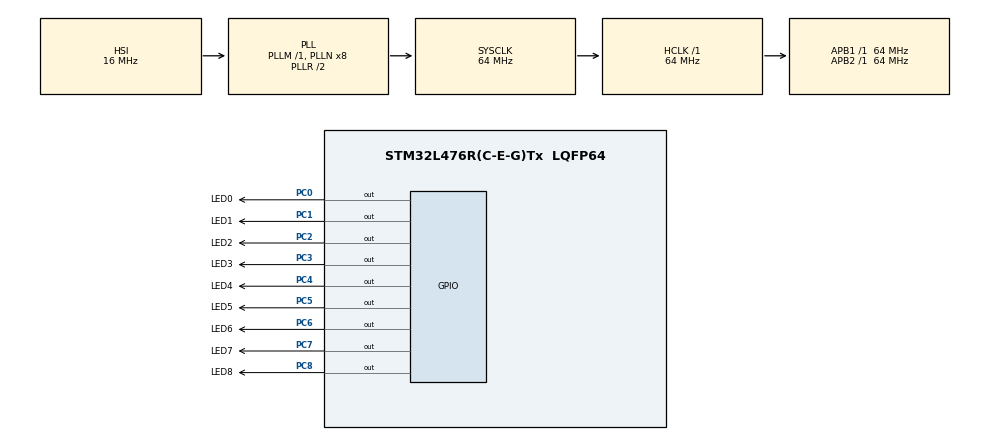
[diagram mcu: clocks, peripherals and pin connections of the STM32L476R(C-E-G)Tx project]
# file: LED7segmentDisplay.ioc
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Mcu.Family=STM32L4
Mcu.Name=STM32L476R(C-E-G)Tx
Mcu.Package=LQFP64
NVIC.PriorityGroup=NVIC_PRIORITYGROUP_4
PC0.GPIO_Label=LED0
PC0.Signal=GPIO_Output
PC1.GPIO_Label=LED1
PC1.Signal=GPIO_Output
PC2.GPIO_Label=LED2
PC2.Signal=GPIO_Output
PC3.GPIO_Label=LED3
PC3.Signal=GPIO_Output
PC4.GPIO_Label=LED4
PC4.Signal=GPIO_Output
PC5.GPIO_Label=LED5
PC5.Signal=GPIO_Output
PC6.GPIO_Label=LED6
PC6.Signal=GPIO_Output
PC7.GPIO_Label=LED7
PC7.Signal=GPIO_Output
PC8.GPIO_Label=LED8
PC8.Signal=GPIO_Output
PH0-OSC_IN\ (PH0).Mode=HSE-External-Oscillator
PH0-OSC_IN\ (PH0).Signal=RCC_OSC_IN
PH1-OSC_OUT\ (PH1).Mode=HSE-External-Oscillator
PH1-OSC_OUT\ (PH1).Signal=RCC_OSC_OUT
ProjectManager.HeapSize=0x200
ProjectManager.StackSize=0x400
ProjectManager.TargetToolchain=STM32CubeIDE
RCC.ADCFreq_Value=64000000
RCC.AHBFreq_Value=64000000
RCC.APB1Freq_Value=64000000
RCC.APB1TimFreq_Value=64000000
RCC.APB2Freq_Value=64000000
RCC.APB2TimFreq_Value=64000000
RCC.CortexFreq_Value=64000000
RCC.HCLKFreq_Value=64000000
RCC.HSE_VALUE=8000000
RCC.HSI_VALUE=16000000
RCC.LSE_VALUE=32768
RCC.MSI_VALUE=4000000
RCC.PLLSourceVirtual=RCC_PLLSOURCE_HSI
RCC.SYSCLKFreq_VALUE=64000000
RCC.SYSCLKSource=RCC_SYSCLKSOURCE_PLLCLK
RCC.USBFreq_Value=64000000
RCC.VCOOutputFreq_Value=128000000
board=custom

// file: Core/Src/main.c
/* USER CODE BEGIN Header */
/**
  ******************************************************************************
  * @file           : main.c
  * @brief          : Main program body
  ******************************************************************************
  * @attention
  *
  * Copyright (c) 2024 STMicroelectronics.
  * All rights reserved.
  *
  * This software is licensed under terms that can be found in the LICENSE file
  * in the root directory of this software component.
  * If no LICENSE file comes with this software, it is provided AS-IS.
  *
  ******************************************************************************
  */
/* USER CODE END Header */
#include "main.h"

/* USER CODE BEGIN PV */
int LED[]={LED0_Pin,LED1_Pin,LED2_Pin,LED3_Pin,LED4_Pin,LED5_Pin,LED6_Pin,LED7_Pin};
int display[]={0x3F,// 0
		  	  	 0x06,// 1
		  	  	 0x5B,// 2
				 0x4F,// 3
				 0x66,// 4
				 0x6D,// 5
				 0x7D,// 6
				 0x07,// 7
				 0x7F,// 8
				 0x6F};// 9
  int Count=0;
/* USER CODE END PV */

void SystemClock_Config(void);
static void MX_GPIO_Init(void);

int main(void)
{

  /* MCU Configuration--------------------------------------------------------*/

  /* Reset of all peripherals, Initializes the Flash interface and the Systick. */
  HAL_Init();

  /* Configure the system clock */
  SystemClock_Config();

  /* Initialize all configured peripherals */
  MX_GPIO_Init();

  /* Infinite loop */
  /* USER CODE BEGIN WHILE */
  while (1)
  {
	  GPIOC-> ODR = display[Count];
	  		++Count;
	  		if(Count==10)Count=0;
	  		HAL_Delay(100);

    /* USER CODE END WHILE */

  }
}

void SystemClock_Config(void)
{
  RCC_OscInitTypeDef RCC_OscInitStruct = {0};
  RCC_ClkInitTypeDef RCC_ClkInitStruct = {0};

  /** Configure the main internal regulator output voltage
  */
  if (HAL_PWREx_ControlVoltageScaling(PWR_REGULATOR_VOLTAGE_SCALE1) != HAL_OK)
  {
    Error_Handler();
  }

  /** Initializes the RCC Oscillators according to the specified parameters
  * in the RCC_OscInitTypeDef structure.
  */
  RCC_OscInitStruct.OscillatorType = RCC_OSCILLATORTYPE_HSI;
  RCC_OscInitStruct.HSIState = RCC_HSI_ON;
  RCC_OscInitStruct.HSICalibrationValue = RCC_HSICALIBRATION_DEFAULT;
  RCC_OscInitStruct.PLL.PLLState = RCC_PLL_ON;
  RCC_OscInitStruct.PLL.PLLSource = RCC_PLLSOURCE_HSI;
  RCC_OscInitStruct.PLL.PLLM = 1;
  RCC_OscInitStruct.PLL.PLLN = 8;
  RCC_OscInitStruct.PLL.PLLP = RCC_PLLP_DIV7;
  RCC_OscInitStruct.PLL.PLLQ = RCC_PLLQ_DIV2;
  RCC_OscInitStruct.PLL.PLLR = RCC_PLLR_DIV2;
  if (HAL_RCC_OscConfig(&RCC_OscInitStruct) != HAL_OK)
  {
    Error_Handler();
  }

  /** Initializes the CPU, AHB and APB buses clocks
  */
  RCC_ClkInitStruct.ClockType = RCC_CLOCKTYPE_HCLK|RCC_CLOCKTYPE_SYSCLK
                              |RCC_CLOCKTYPE_PCLK1|RCC_CLOCKTYPE_PCLK2;
  RCC_ClkInitStruct.SYSCLKSource = RCC_SYSCLKSOURCE_PLLCLK;
  RCC_ClkInitStruct.AHBCLKDivider = RCC_SYSCLK_DIV1;
  RCC_ClkInitStruct.APB1CLKDivider = RCC_HCLK_DIV1;
  RCC_ClkInitStruct.APB2CLKDivider = RCC_HCLK_DIV1;

  if (HAL_RCC_ClockConfig(&RCC_ClkInitStruct, FLASH_LATENCY_3) != HAL_OK)
  {
    Error_Handler();
  }
}

static void MX_GPIO_Init(void)
{
  GPIO_InitTypeDef GPIO_InitStruct = {0};

  /* GPIO Ports Clock Enable */
  __HAL_RCC_GPIOH_CLK_ENABLE();
  __HAL_RCC_GPIOC_CLK_ENABLE();

  /*Configure GPIO pin Output Level */
  HAL_GPIO_WritePin(GPIOC, LED0_Pin|LED1_Pin|LED2_Pin|LED3_Pin
                          |LED4_Pin|LED5_Pin|LED6_Pin|LED7_Pin
                          |LED8_Pin, GPIO_PIN_RESET);

  /*Configure GPIO pins : LED0_Pin LED1_Pin LED2_Pin LED3_Pin
                           LED4_Pin LED5_Pin LED6_Pin LED7_Pin
                           LED8_Pin */
  GPIO_InitStruct.Pin = LED0_Pin|LED1_Pin|LED2_Pin|LED3_Pin
                          |LED4_Pin|LED5_Pin|LED6_Pin|LED7_Pin
                          |LED8_Pin;
  GPIO_InitStruct.Mode = GPIO_MODE_OUTPUT_PP;
  GPIO_InitStruct.Pull = GPIO_NOPULL;
  GPIO_InitStruct.Speed = GPIO_SPEED_FREQ_LOW;
  HAL_GPIO_Init(GPIOC, &GPIO_InitStruct);

}

void Error_Handler(void)
{
  __disable_irq();
  while (1)
  {
  }
}
